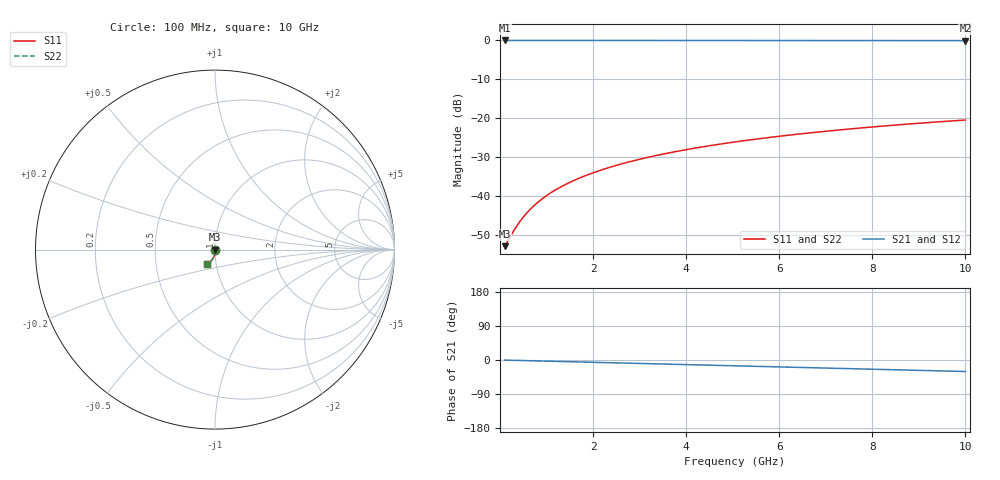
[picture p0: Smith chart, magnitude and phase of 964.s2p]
# Hz S RI R 50.00
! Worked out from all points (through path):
!   100 points, 100 MHz to 10 GHz, reference 50 ohm
!   highest |S21| = -0.02 dB at 100 MHz (marker M1); lowest = -0.1 dB at 10 GHz (marker M2)
!   group delay of S21, straight-line fit = 8.44 ps
!   lowest |S11| = -52.9 dB at 100 MHz (marker M3), VSWR 1.00, Z = 50.2 - j0.101 ohm
!   |S11| at or under -10 dB: start of sweep to end of sweep
!   |S22| runs from -52.9 to -20.5 dB; largest |S21 - S12| = 0
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1e8  0.00204 -0.001  0.9979 -0.00529  0.9979 -0.00529  0.00204 -0.001
3e8  0.00202 -0.00301  0.9978 -0.0159  0.9978 -0.0159  0.00202 -0.00301
4e8  0.00199 -0.00401  0.9977 -0.0212  0.9977 -0.0212  0.00199 -0.00401
5e8  0.00194 -0.00501  0.9975 -0.0265  0.9975 -0.0265  0.00194 -0.00501
6e8  0.00189 -0.00601  0.9974 -0.0317  0.9974 -0.0317  0.00189 -0.00601
7e8  0.00182 -0.00701  0.9972 -0.037  0.9972 -0.037  0.00182 -0.00701
8e8  0.00175 -0.00801  0.9969 -0.0423  0.9969 -0.0423  0.00175 -0.00801
1e9  0.00156 -0.01  0.9964 -0.0529  0.9964 -0.0529  0.00156 -0.01
1.2e9  0.00133 -0.012  0.9957 -0.0634  0.9957 -0.0634  0.00133 -0.012
1.5e9  0.000905 -0.015  0.9945 -0.0793  0.9945 -0.0793  0.000905 -0.015
1.8e9  0.000385 -0.018  0.9931 -0.0951  0.9931 -0.0951  0.000385 -0.018
2.1e9  -0.00023 -0.0209  0.9914 -0.1109  0.9914 -0.1109  -0.00023 -0.0209
2.5e9  -0.0012 -0.0248  0.9887 -0.1319  0.9887 -0.1319  -0.0012 -0.0248
2.9e9  -0.00233 -0.0287  0.9855 -0.1528  0.9855 -0.1528  -0.00233 -0.0287
3.4e9  -0.00397 -0.0334  0.981 -0.1788  0.981 -0.1788  -0.00397 -0.0334
4.2e9  -0.00711 -0.0408  0.9722 -0.2202  0.9722 -0.2202  -0.00711 -0.0408
5.1e9  -0.0114 -0.0488  0.9601 -0.2663  0.9601 -0.2663  -0.0114 -0.0488
5.9e9  -0.0158 -0.0555  0.9475 -0.3066  0.9475 -0.3066  -0.0158 -0.0555
6.7e9  -0.0208 -0.0619  0.9331 -0.3464  0.9331 -0.3464  -0.0208 -0.0619
7.5e9  -0.0263 -0.0678  0.9171 -0.3854  0.9171 -0.3854  -0.0263 -0.0678
8.4e9  -0.033 -0.0738  0.897 -0.4284  0.897 -0.4284  -0.033 -0.0738
1e10  -0.0463 -0.0829  0.8563 -0.5022  0.8563 -0.5022  -0.0463 -0.0829
